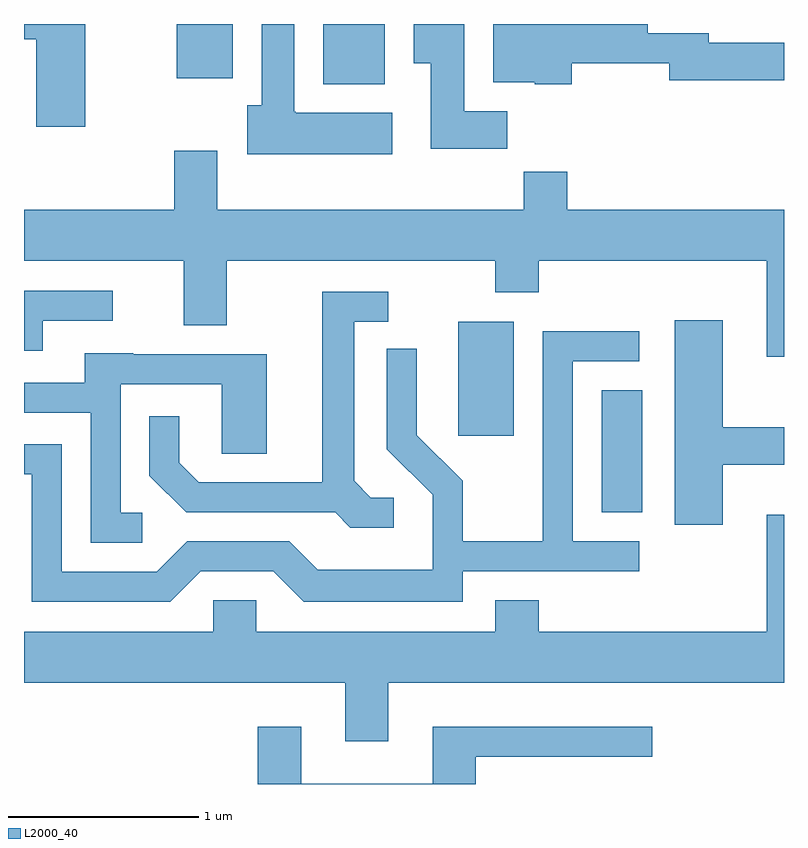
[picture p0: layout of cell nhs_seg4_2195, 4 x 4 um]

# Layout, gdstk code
import gdstk
lib = gdstk.Library(unit=1e-6, precision=1e-09)
def R(c, l, rs):  # rectangles x0, y0, x1, y1
    for r in rs: c.add(gdstk.rectangle(r[:2], r[2:], *l))
def P(c, l, *ps):  # polygons
    for p in ps: c.add(gdstk.Polygon(p, *l))
L2000_40 = (2000, 40)

nhs_seg4_2195 = lib.new_cell('nhs_seg4_2195')
R(nhs_seg4_2195, L2000_40, [(252.651,1293.411,252.864,1294.054), (251.896,1293.816,252.189,1294.414), (251.186,1295.666,251.509,1295.982), (250.416,1295.696,250.709,1295.982)])
P(nhs_seg4_2195, L2000_40, [(252.154,1295.524),(251.929,1295.524),(251.929,1295.982),(251.661,1295.982),(251.661,1295.776),(251.751,1295.776),(251.751,1295.326),(252.154,1295.326)],
  [(249.934,1295.982),(249.611,1295.982),(249.611,1295.901),(249.676,1295.901),(249.676,1295.441),(249.934,1295.441)],
  [(252.494,1295.776),(253.006,1295.776),(253.006,1295.686),(253.611,1295.686),(253.611,1295.884),(253.214,1295.884),(253.214,1295.934),(252.894,1295.934),(252.894,1295.982),(252.081,1295.982),(252.081,1295.676),(252.3,1295.676),(252.3,1295.666),(252.494,1295.666)],
  [(251.549,1295.514),(251.04,1295.514),(251.04,1295.52),(251.034,1295.52),(251.034,1295.982),(250.861,1295.982),(250.861,1295.554),(250.786,1295.554),(250.786,1295.296),(251.549,1295.296)],
  [(253.611,1295.004),(252.469,1295.004),(252.469,1295.204),(252.241,1295.204),(252.241,1295.004),(250.629,1295.004),(250.629,1295.314),(250.401,1295.314),(250.401,1295.004),(249.611,1295.004),(249.611,1294.736),(250.451,1294.736),(250.451,1294.396),(250.679,1294.396),(250.679,1294.736),(252.091,1294.736),(252.091,1294.571),(252.319,1294.571),(252.319,1294.736),(253.521,1294.736),(253.521,1294.231),(253.611,1294.231)],
  [(249.709,1294.421),(250.078,1294.421),(250.078,1294.579),(249.611,1294.579),(249.611,1294.261),(249.709,1294.261)],
  [(251.558,1293.489),(251.437,1293.489),(251.349,1293.577),(251.349,1294.416),(251.528,1294.416),(251.528,1294.574),(251.181,1294.574),(251.181,1293.569),(250.532,1293.569),(250.429,1293.672),(250.429,1293.918),(250.271,1293.918),(250.271,1293.604),(250.464,1293.411),(251.249,1293.411),(251.329,1293.331),(251.558,1293.331)],
  [(253.289,1293.661),(253.611,1293.661),(253.611,1293.859),(253.289,1293.859),(253.289,1294.424),(253.036,1294.424),(253.036,1293.346),(253.289,1293.346)],
  [(250.542,1293.101),(250.924,1293.101),(251.084,1292.941),(251.919,1292.941),(251.919,1293.101),(252.848,1293.101),(252.848,1293.259),(252.499,1293.259),(252.499,1294.206),(252.848,1294.206),(252.848,1294.364),(252.341,1294.364),(252.341,1293.259),(251.919,1293.259),(251.919,1293.577),(251.679,1293.817),(251.679,1294.273),(251.521,1294.273),(251.521,1293.744),(251.761,1293.504),(251.761,1293.109),(251.157,1293.109),(251.007,1293.259),(250.469,1293.259),(250.309,1293.099),(249.809,1293.099),(249.809,1293.769),(249.611,1293.769),(249.611,1293.611),(249.651,1293.611),(249.651,1292.941),(250.382,1292.941)],
  [(250.233,1293.409),(250.119,1293.409),(250.119,1294.086),(250.651,1294.086),(250.651,1293.721),(250.889,1293.721),(250.889,1294.244),(250.185,1294.244),(250.185,1294.249),(249.931,1294.249),(249.931,1294.094),(249.611,1294.094),(249.611,1293.936),(249.961,1293.936),(249.961,1293.251),(250.233,1293.251)],
  [(251.529,1292.516),(253.611,1292.516),(253.611,1293.399),(253.521,1293.399),(253.521,1292.784),(252.319,1292.784),(252.319,1292.949),(252.091,1292.949),(252.091,1292.784),(250.834,1292.784),(250.834,1292.949),(250.606,1292.949),(250.606,1292.784),(249.611,1292.784),(249.611,1292.516),(251.301,1292.516),(251.301,1292.206),(251.529,1292.206)],
  [(251.989,1292.126),(252.918,1292.126),(252.918,1292.284),(251.761,1292.284),(251.761,1291.984),(251.069,1291.984),(251.069,1292.284),(250.841,1292.284),(250.841,1291.982),(251.989,1291.982)])

lib.write_gds('nhs_seg4_2195.gds')
